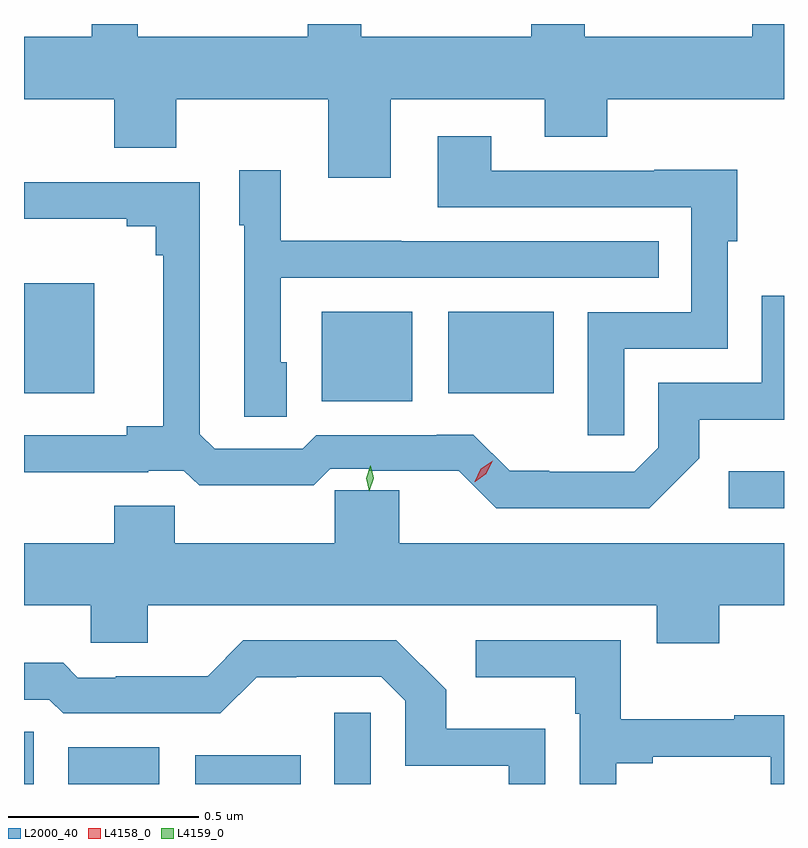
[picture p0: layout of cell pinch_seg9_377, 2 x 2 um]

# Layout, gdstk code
import gdstk
lib = gdstk.Library(unit=1e-6, precision=1e-09)
def R(c, l, rs):  # rectangles x0, y0, x1, y1
    for r in rs: c.add(gdstk.rectangle(r[:2], r[2:], *l))
def P(c, l, *ps):  # polygons
    for p in ps: c.add(gdstk.Polygon(p, *l))
L2000_40 = (2000, 40)
L4158_0 = (4158, 0)
L4159_0 = (4159, 0)

pinch_seg9_377 = lib.new_cell('pinch_seg9_377')
R(pinch_seg9_377, L2000_40, [(579.674,1190.622,579.7,1190.759), (579.791,1190.622,580.03,1190.719), (580.124,1190.622,580.402,1190.698), (580.491,1190.622,580.587,1190.809), (581.529,1191.348,581.674,1191.445), (580.457,1191.629,580.696,1191.865), (579.674,1191.65,579.859,1191.94), (580.79,1191.65,581.068,1191.865)])
P(pinch_seg9_377, L2000_40, [(580.639,1192.424),(581.045,1192.424),(581.045,1192.325),(581.209,1192.325),(581.209,1192.424),(581.674,1192.424),(581.674,1192.622),(581.591,1192.622),(581.591,1192.588),(581.149,1192.588),(581.149,1192.622),(581.009,1192.622),(581.009,1192.588),(580.561,1192.588),(580.561,1192.622),(580.421,1192.622),(580.421,1192.588),(579.973,1192.588),(579.973,1192.622),(579.852,1192.622),(579.852,1192.588),(579.674,1192.588),(579.674,1192.424),(579.911,1192.424),(579.911,1192.296),(580.075,1192.296),(580.075,1192.424),(580.475,1192.424),(580.475,1192.218),(580.639,1192.218)],
  [(581.253,1191.768),(581.526,1191.768),(581.526,1192.05),(581.551,1192.05),(581.551,1192.238),(581.333,1192.238),(581.333,1192.236),(580.903,1192.236),(580.903,1192.327),(580.763,1192.327),(580.763,1192.14),(581.43,1192.14),(581.43,1191.864),(581.157,1191.864),(581.157,1191.54),(581.253,1191.54)],
  [(580.366,1191.732),(580.35,1191.732),(580.35,1191.954),(581.345,1191.954),(581.345,1192.05),(580.667,1192.05),(580.667,1192.051),(580.35,1192.051),(580.35,1192.237),(580.241,1192.237),(580.241,1192.092),(580.254,1192.092),(580.254,1191.589),(580.366,1191.589)],
  [(581.451,1191.479),(581.451,1191.581),(581.674,1191.581),(581.674,1191.907),(581.616,1191.907),(581.616,1191.678),(581.343,1191.678),(581.343,1191.507),(581.28,1191.444),(581.056,1191.444),(581.056,1191.446),(580.952,1191.446),(580.856,1191.541),(580.76,1191.541),(580.76,1191.54),(580.443,1191.54),(580.407,1191.504),(580.176,1191.504),(580.137,1191.543),(580.137,1192.206),(579.674,1192.206),(579.674,1192.109),(579.944,1192.109),(579.944,1192.09),(580.021,1192.09),(580.021,1192.013),(580.04,1192.013),(580.04,1191.563),(579.944,1191.563),(579.944,1191.54),(579.674,1191.54),(579.674,1191.443),(580.001,1191.443),(580.001,1191.447),(580.095,1191.447),(580.135,1191.408),(580.436,1191.408),(580.48,1191.452),(580.582,1191.452),(580.582,1191.447),(580.818,1191.447),(580.917,1191.348),(581.32,1191.348)],
  [(581.503,1191.092),(581.674,1191.092),(581.674,1191.256),(580.662,1191.256),(580.662,1191.395),(580.492,1191.395),(580.492,1191.256),(580.071,1191.256),(580.071,1191.354),(579.911,1191.354),(579.911,1191.256),(579.674,1191.256),(579.674,1191.092),(579.85,1191.092),(579.85,1190.994),(580,1190.994),(580,1191.092),(581.339,1191.092),(581.339,1190.993),(581.503,1190.993)],
  [(581.046,1190.767),(580.785,1190.767),(580.785,1190.87),(580.654,1191),(580.251,1191),(580.157,1190.906),(579.916,1190.906),(579.916,1190.901),(579.816,1190.901),(579.777,1190.941),(579.674,1190.941),(579.674,1190.844),(579.741,1190.844),(579.777,1190.808),(580.191,1190.808),(580.286,1190.903),(580.39,1190.903),(580.39,1190.904),(580.614,1190.904),(580.677,1190.841),(580.677,1190.67),(580.95,1190.67),(580.95,1190.622),(581.046,1190.622)],
  [(581.233,1190.676),(581.329,1190.676),(581.329,1190.694),(581.639,1190.694),(581.639,1190.622),(581.674,1190.622),(581.674,1190.803),(581.543,1190.803),(581.543,1190.792),(581.245,1190.792),(581.245,1191),(580.863,1191),(580.863,1190.903),(581.124,1190.903),(581.124,1190.807),(581.136,1190.807),(581.136,1190.622),(581.233,1190.622)])
P(pinch_seg9_377, L4158_0, [(580.86,1191.418),(580.86,1191.418),(580.876,1191.452),(580.907,1191.473),(580.907,1191.473),(580.907,1191.473),(580.891,1191.439),(580.861,1191.418)])
P(pinch_seg9_377, L4159_0, [(580.582,1191.392),(580.582,1191.392),(580.574,1191.426),(580.585,1191.46),(580.585,1191.46),(580.586,1191.46),(580.594,1191.426),(580.583,1191.392)])

lib.write_gds('pinch_seg9_377.gds')
